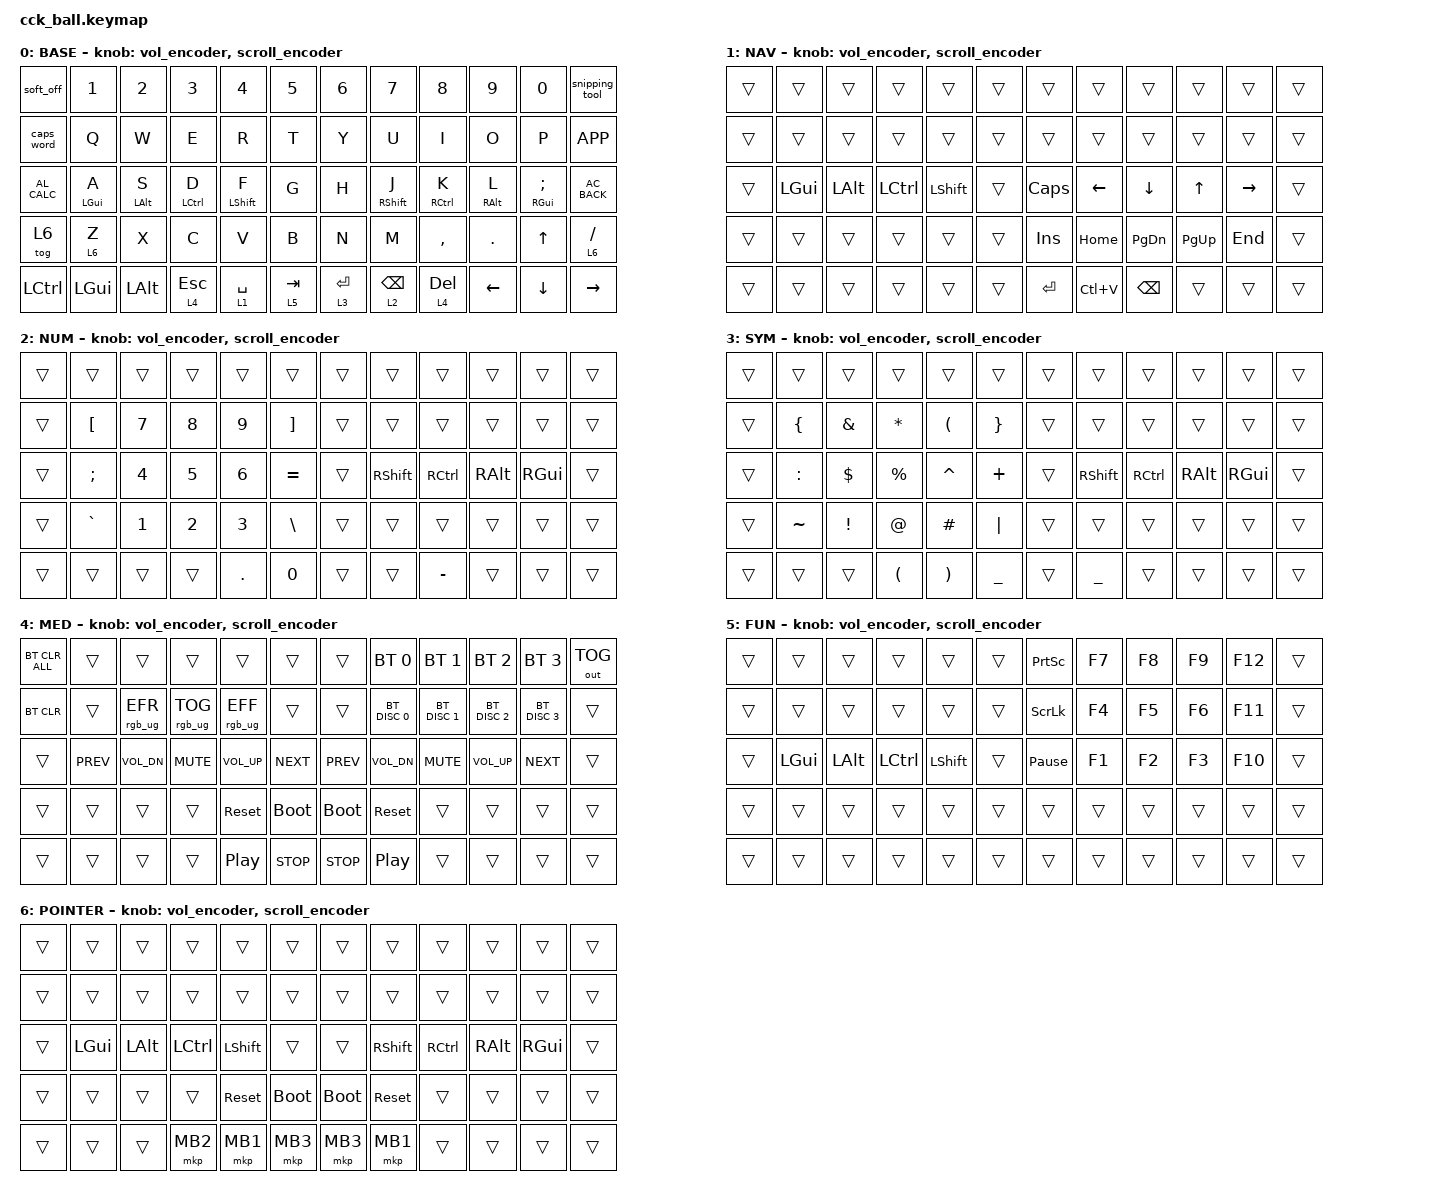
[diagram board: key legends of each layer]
#define ZMK_POINTING_DEFAULT_MOVE_VAL 1000
#define ZMK_POINTING_DEFAULT_SCRL_VAL 12

#include <input/processors.dtsi>
#include <zephyr/dt-bindings/input/input-event-codes.h>
#include <behaviors.dtsi>
#include <dt-bindings/zmk/bt.h>
#include <dt-bindings/zmk/keys.h>
#include <dt-bindings/zmk/pointing.h>
#include <dt-bindings/zmk/outputs.h>
#include <dt-bindings/zmk/rgb.h>

&mmv_input_listener { input-processors = <&zip_xy_scaler 2 1>; };
&msc_input_listener { input-processors = <&zip_scroll_scaler 2 1>; };

&msc {
    acceleration-exponent = <0>;
    time-to-max-speed-ms = <300>;
    delay-ms = <0>;
};

&mmv {
    time-to-max-speed-ms = <500>;
    acceleration-exponent = <1>;
    trigger-period-ms = <16>;
};

&soft_off { hold-time-ms = <2000>; };

&mt {
    flavor = "tap-preferred";
    tapping-term-ms = <220>;
};

&lt {
    flavor = "tap-preferred";
    tapping-term-ms = <220>;
};

/ {
    vol_encoder: vol_encoder {
        compatible = "zmk,behavior-sensor-rotate";
        #sensor-binding-cells = <0>;
        bindings = <&kp C_VOL_UP>, <&kp C_VOL_DN>;
        tap-ms = <100>;
    };

    scroll_encoder: scroll_encoder {
        compatible = "zmk,behavior-sensor-rotate";
        #sensor-binding-cells = <0>;
        bindings = <&msc SCRL_UP>, <&msc SCRL_DOWN>;
        tap-ms = <100>;
    };

    macros {
        snipping_tool: snipping_tool {
            compatible = "zmk,behavior-macro";
            #binding-cells = <0>;
            bindings = <&kp LG(LS(S))>;
        };
    };

    behaviors {};

    keymap {
        compatible = "zmk,keymap";

        BASE {
            bindings = <
&soft_off         &kp N1        &kp N2        &kp N3        &kp N4        &kp N5      &kp N6       &kp N7        &kp N8         &kp N9          &kp N0          &snipping_tool
&caps_word        &kp Q         &kp W         &kp E         &kp R         &kp T       &kp Y        &kp U         &kp I          &kp O           &kp P           &kp K_APP
&kp C_AL_CALC     &mt LGUI A    &mt LALT S    &mt LCTRL D   &mt LSHFT F   &kp G       &kp H        &mt RSHFT J   &mt RCTRL K    &mt RALT L      &mt RGUI SEMI   &kp C_AC_BACK
&tog 6            &lt 6 Z       &kp X         &kp C         &kp V         &kp B       &kp N        &kp M         &kp COMMA      &kp DOT         &kp UP          &lt 6 FSLH
&kp LCTRL         &kp LGUI      &kp LALT      &lt 4 ESC     &lt 1 SPACE   &lt 5 TAB   &lt 3 ENTER  &lt 2 BSPC    &lt 4 DEL      &kp LEFT        &kp DOWN        &kp RIGHT
            >;
            sensor-bindings = <&vol_encoder>, <&scroll_encoder>;
        };

        NAV {
            bindings = <
&trans  &trans    &trans    &trans     &trans     &trans  &trans      &trans      &trans     &trans    &trans     &trans
&trans  &trans    &trans    &trans     &trans     &trans  &trans      &trans      &trans     &trans    &trans     &trans
&trans  &kp LGUI  &kp LALT  &kp LCTRL  &kp LSHFT  &trans  &kp CAPS    &kp LEFT    &kp DOWN   &kp UP    &kp RIGHT  &trans
&trans  &trans    &trans    &trans     &trans     &trans  &kp INS     &kp HOME    &kp PG_DN  &kp PG_UP &kp END    &trans
&trans  &trans    &trans    &trans     &trans     &trans  &kp ENTER   &kp LC(V)   &kp BSPC   &trans    &trans     &trans
            >;
            sensor-bindings = <&vol_encoder>, <&scroll_encoder>;
        };

        NUM {
            bindings = <
&trans  &trans     &trans  &trans  &trans   &trans     &trans  &trans     &trans     &trans    &trans    &trans
&trans  &kp LBKT   &kp N7  &kp N8  &kp N9   &kp RBKT   &trans  &trans     &trans     &trans    &trans    &trans
&trans  &kp SEMI   &kp N4  &kp N5  &kp N6   &kp EQUAL  &trans  &kp RSHFT  &kp RCTRL  &kp RALT  &kp RGUI  &trans
&trans  &kp GRAVE  &kp N1  &kp N2  &kp N3   &kp BSLH   &trans  &trans     &trans     &trans    &trans    &trans
&trans  &trans     &trans  &trans  &kp DOT  &kp N0     &trans  &trans     &kp MINUS  &trans    &trans    &trans
            >;
            sensor-bindings = <&vol_encoder>, <&scroll_encoder>;
        };

        SYM {
            bindings = <
&trans  &trans     &trans      &trans       &trans     &trans     &trans  &trans     &trans     &trans    &trans    &trans
&trans  &kp LBRC   &kp AMPS    &kp STAR     &kp LPAR   &kp RBRC   &trans  &trans     &trans     &trans    &trans    &trans
&trans  &kp COLON  &kp DOLLAR  &kp PERCENT  &kp CARET  &kp PLUS   &trans  &kp RSHFT  &kp RCTRL  &kp RALT  &kp RGUI  &trans
&trans  &kp TILDE  &kp EXCL    &kp AT       &kp HASH   &kp PIPE   &trans  &trans     &trans     &trans    &trans    &trans
&trans  &trans     &trans      &kp LPAR     &kp RPAR   &kp UNDER  &trans  &kp UNDER  &trans     &trans    &trans    &trans
            >;
            sensor-bindings = <&vol_encoder>, <&scroll_encoder>;
        };

        MED {
            bindings = <
&bt BT_CLR_ALL  &trans        &trans           &trans          &trans           &trans      &trans      &bt BT_SEL 0     &bt BT_SEL 1    &bt BT_SEL 2     &bt BT_SEL 3  &out OUT_TOG
&bt BT_CLR      &trans        &rgb_ug RGB_EFR  &rgb_ug RGB_TOG &rgb_ug RGB_EFF  &trans      &trans      &bt BT_DISC 0    &bt BT_DISC 1   &bt BT_DISC 2    &bt BT_DISC 3 &trans
&trans          &kp C_PREV    &kp C_VOL_DN     &kp C_MUTE      &kp C_VOL_UP     &kp C_NEXT  &kp C_PREV  &kp C_VOL_DN     &kp C_MUTE      &kp C_VOL_UP     &kp C_NEXT    &trans
&trans          &trans        &trans           &trans          &sys_reset       &bootloader &bootloader &sys_reset       &trans          &trans           &trans        &trans
&trans          &trans        &trans           &trans          &kp C_PP         &kp C_STOP  &kp C_STOP  &kp C_PP         &trans          &trans           &trans        &trans
            >;
            sensor-bindings = <&vol_encoder>, <&scroll_encoder>;
        };

        FUN {
            bindings = <
&trans  &trans    &trans    &trans     &trans     &trans  &kp PRINTSCREEN  &kp F7  &kp F8  &kp F9  &kp F12  &trans
&trans  &trans    &trans    &trans     &trans     &trans  &kp SCROLLLOCK   &kp F4  &kp F5  &kp F6  &kp F11  &trans
&trans  &kp LGUI  &kp LALT  &kp LCTRL  &kp LSHFT  &trans  &kp PAUSE_BREAK  &kp F1  &kp F2  &kp F3  &kp F10  &trans
&trans  &trans    &trans    &trans     &trans     &trans  &trans           &trans  &trans  &trans  &trans   &trans
&trans  &trans    &trans    &trans     &trans     &trans  &trans           &trans  &trans  &trans  &trans   &trans
            >;
            sensor-bindings = <&vol_encoder>, <&scroll_encoder>;
        };

        POINTER {
            bindings = <
&trans  &trans    &trans    &trans     &trans     &trans       &trans       &trans     &trans     &trans    &trans    &trans
&trans  &trans    &trans    &trans     &trans     &trans       &trans       &trans     &trans     &trans    &trans    &trans
&trans  &kp LGUI  &kp LALT  &kp LCTRL  &kp LSHFT  &trans       &trans       &kp RSHFT  &kp RCTRL  &kp RALT  &kp RGUI  &trans
&trans  &trans    &trans    &trans     &sys_reset &bootloader  &bootloader  &sys_reset &trans     &trans    &trans    &trans
&trans  &trans    &trans    &mkp MB2   &mkp MB1   &mkp MB3     &mkp MB3     &mkp MB1   &trans     &trans    &trans    &trans
            >;
            sensor-bindings = <&vol_encoder>, <&scroll_encoder>;
        };

    };
};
